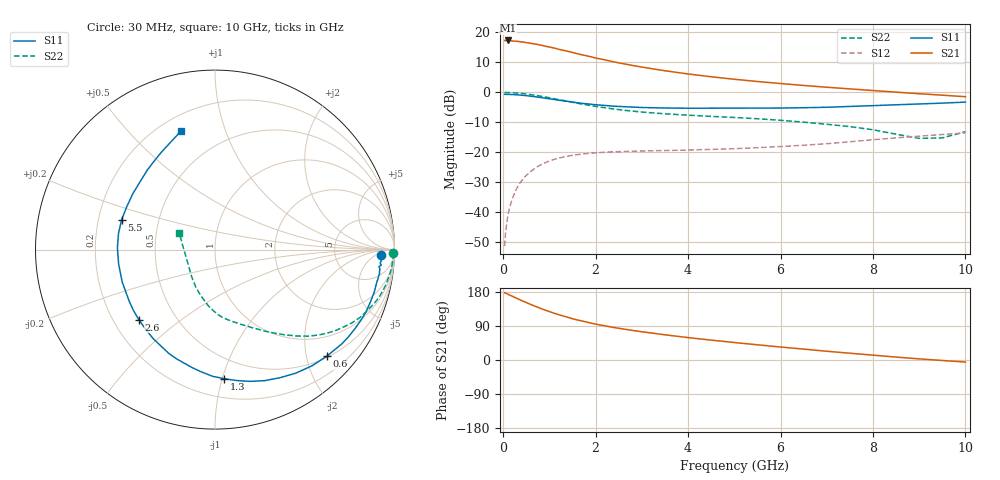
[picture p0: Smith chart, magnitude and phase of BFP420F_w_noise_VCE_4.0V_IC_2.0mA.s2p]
! Infineon Technologies  Discrete & RF Semiconductors
! BFP420F
! VCE =  4.0 V,  IC =  2.0 mA
! Common Emitter S-Parameters:  Sep 2011
# GHz  S  MA  R  50
!  f  S11  S21  S12  S22
! GHz  MAG  ANG  MAG  ANG  MAG  ANG  MAG  ANG
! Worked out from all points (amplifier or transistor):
!   54 points, 30 MHz to 10 GHz, reference 50 ohm
!   highest |S21| = 17.3 dB at 100 MHz (marker M1)
!   |S21| within 3 dB of that: start of sweep to 1.219 GHz
!   unconditionally stable (mu >= 1): 3.254 GHz to end of sweep
!   at 120 MHz: K = 0.08, MSG = 28.6 dB, |S12| = -39.8 dB
!   at 1.3 GHz: K = 0.30, MSG = 17.8 dB, |S12| = -21.6 dB
!   at 10 GHz: K = 1.57, MAG = 1.6 dB, |S12| = -13.6 dB
!   lowest NFmin = 0.81 dB at 450 MHz
!   S11 on the Smith chart (normalised r, x): 30 MHz: 22, -10; 600 MHz: 0.52, -2.40; 1.3 GHz: 0.34, -1.02; 2.6 GHz: 0.31, -0.36; 5.5 GHz: 0.30, +0.14; 10 GHz: 0.29, +0.71
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0.03  0.9268 -2.0  7.339 177.7  0.0027 79.3  0.9939 -1.2
0.05  0.9282 -3.9  7.285 176.1  0.0045 83.4  0.9934 -1.9
0.07  0.9304 -5.3  7.341 175.8  0.006 82.4  0.9932 -2.7
0.1  0.9245 -7.7  7.352 173.6  0.0086 84.1  0.9915 -3.8
0.2  0.9182 -15.0  7.208 168.2  0.0171 80.9  0.9845 -7.6
0.4  0.8954 -29.6  6.954 156.7  0.0334 74.1  0.9568 -15.0
0.6  0.8608 -43.6  6.57 146.2  0.0481 66.8  0.9149 -21.8
0.8  0.8223 -56.9  6.17 136.4  0.061 60.3  0.866 -28.1
0.9  0.8004 -63.1  5.924 132.0  0.0664 57.2  0.8388 -30.8
1.1  0.7601 -75.0  5.495 123.5  0.0759 51.5  0.7842 -36.2
1.3  0.7212 -85.9  5.038 116.1  0.0831 46.8  0.7323 -40.8
1.5  0.6861 -96.2  4.627 108.8  0.0888 42.5  0.6832 -44.8
1.7  0.6554 -105.2  4.244 103.1  0.0931 39.1  0.6383 -48.5
2  0.6202 -117.8  3.739 94.7  0.0977 34.8  0.5825 -53.5
2.6  0.5765 -137.5  3.005 81.8  0.1028 29.4  0.5037 -61.6
3.5  0.5476 -160.8  2.292 66.5  0.1068 25.9  0.4381 -71.3
4.5  0.5439 179.0  1.821 52.4  0.1115 25.7  0.3968 -79.7
5.5  0.5462 162.2  1.517 40.1  0.119 27.3  0.3624 -87.4
7  0.5636 137.6  1.217 23.1  0.1389 29.9  0.2932 -101.0
8.5  0.6204 118.6  1.008 7.7  0.1737 28.5  0.2003 -130.4
9.5  0.6606 110.1  0.897 -1.3  0.1976 24.9  0.1734 -179.9
10  0.6866 106.0  0.846 -5.4  0.2097 22.7  0.2198 155.1
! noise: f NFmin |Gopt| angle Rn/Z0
0.45  0.81  0.49  17  0.26
0.9  0.87  0.48  36  0.26
1.9  1.18  0.37  84  0.2
2.4  1.31  0.38  97  0.2
3.5  1.73  0.39  136  0.18
